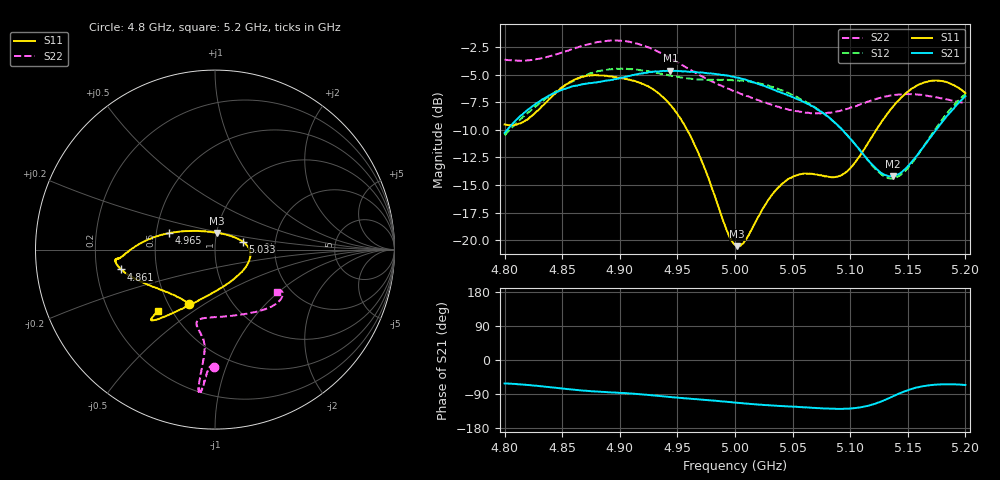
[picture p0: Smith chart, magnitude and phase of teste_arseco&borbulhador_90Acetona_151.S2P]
! Network Analyzer HP8722D
! Hewlett-Packard
! Data name: Linha & Wilkinson
! Saver's name: Rodrigo Anjos
! Comments: Teste da utilização de aquisição
! continua pelo VNA HP8722D
! Time and date: 17/4/2025 12:18
!  Frequency  S11  S21  S12  S22
# HZ  S  MA R 50
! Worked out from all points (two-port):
!   401 points, 4.8 GHz to 5.2 GHz, reference 50 ohm
!   highest |S21| = -4.64 dB at 4.944 GHz (marker M1); lowest = -14.2 dB at 5.137 GHz (marker M2)
!   |S21| within 3 dB of the highest: 4.827 GHz to 5.063 GHz (235.7 MHz wide, 4.77 % of centre); 5.193405 GHz to end of sweep
!   lowest |S11| = -20.5 dB at 5.002 GHz (marker M3), VSWR 1.21, Z = 50.3 + j9.47 ohm
!   |S11| at or under -10 dB: 4.958 GHz to 5.123 GHz (164.2 MHz wide, 3.26 % of centre)
!   |S22| runs from -8.5 to -1.9 dB; largest |S21 - S12| = 0.88
!   S11 on the Smith chart (normalised r, x): 4.8 GHz: 0.63, -0.43; 4.861 GHz: 0.31, -0.09; 4.965 GHz: 0.59, +0.12; 5.033 GHz: 1.37, +0.12; 5.2 GHz: 0.43, -0.37
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4.8e9  0.3345 -115.9  0.3063 -61.9  0.2993 -176.2  0.6565 -90.5
4.819e9  0.351 -136.1  0.3859 -65.8  0.3731 -175.2  0.6521 -92.2
4.861e9  0.5349 -168.1  0.4999 -78.7  0.5334 -178.6  0.7393 -94.7
4.867e9  0.549 -170.4  0.5083 -80.5  0.5503 -179.6  0.7567 -94.9
4.9e9  0.5452 -174.8  0.5422 -86.8  0.5966 174.1  0.8008 -96.3
4.934e9  0.4614 179.3  0.5807 -94.9  0.5713 170.7  0.7103 -96.8
4.944e9  0.4097 174.6  0.5859 -97.7  0.5563 170.8  0.6684 -96.3
4.965e9  0.271 160.3  0.5798 -103.3  0.5364 172.7  0.5763 -96.0
4.993e9  0.1103 114.5  0.5579 -110.3  0.5332 174.9  0.4887 -98.6
5e9  0.09555 90.6  0.547 -112.4  0.5314 175.1  0.4706 -99.9
5.002e9  0.09411 83.0  0.5451 -112.8  0.5291 175.0  0.468 -100.5
5.009e9  0.1003 59.1  0.5348 -114.8  0.527 174.8  0.4526 -101.9
5.033e9  0.1629 15.5  0.4823 -120.2  0.4942 173.6  0.4093 -103.8
5.048e9  0.1916 0.8  0.4502 -122.6  0.4602 173.0  0.3893 -100.2
5.067e9  0.2001 -19.3  0.4051 -126.1  0.4086 172.7  0.3764 -89.9
5.097e9  0.2043 -72.1  0.3009 -128.6  0.3015 174.7  0.3927 -66.4
5.122e9  0.3125 -110.4  0.2125 -114.9  0.21 -169.6  0.4354 -49.4
5.134e9  0.3843 -119.9  0.1948 -100.2  0.1908 -153.3  0.4518 -43.3
5.137e9  0.4016 -121.7  0.1946 -96.1  0.1906 -148.4  0.4543 -42.1
5.15e9  0.4704 -127.3  0.216 -80.0  0.2122 -129.6  0.4593 -37.4
5.17e9  0.5267 -131.6  0.2935 -66.3  0.2979 -112.4  0.4486 -32.8
5.2e9  0.4639 -132.9  0.4492 -65.9  0.4594 -108.0  0.4172 -34.5
